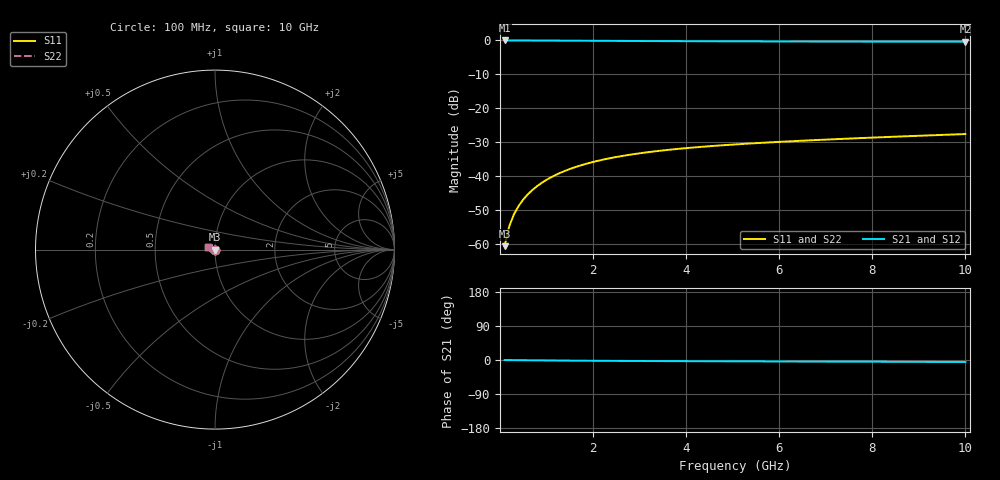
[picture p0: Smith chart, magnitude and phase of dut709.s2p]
! Touchstone file exported from HFSS 2024.1.0
!  File:  C:/UserFiles/LocalFiles/RDL_TSV_Batchsim/temp_TSV1_709_1779867218.aedt
!  Generated:  03:38:35 PM May 27, 2026
!  Design:  TSV1
!  Project:  temp_TSV1_709_1779867218
!  Setup:  Setup1
!  Solution:  Sweep
! Variables:
!  dtsv = 8.09um
!  hbump = 3um
!  htsv = 79.52um
!  lrdl = 252.1521522um
!  p = 40
!  p1 = 55um
!  t = 500um
!  trdl = 3um
!  wrdl = 24.89489489um
# GHz S MA R 50.000000
! Terminal data exported
! Port[1] = TSV22_T1
! Port[2] = TSV22_T2
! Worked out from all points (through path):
!   100 points, 100 MHz to 10 GHz, reference 50 ohm
!   highest |S21| = 0.00 dB at 100 MHz (marker M1); lowest = -0.4 dB at 10 GHz (marker M2)
!   lowest |S11| = -60.7 dB at 100 MHz (marker M3), VSWR 1.00, Z = 50 - j0.0909 ohm
!   |S11| at or under -10 dB: start of sweep to end of sweep
!   |S22| runs from -60.7 to -27.6 dB; largest |S21 - S12| = 9e-15
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0.1  0.0009271 -78.5  0.9997 -0.1  0.9997 -0.1  0.0009271 -78.5
! Gamma 0 0 0 0
! Port Impedance 50 0 50 0
0.2  0.001826 -87.2  0.9996 -0.2  0.9996 -0.2  0.001826 -87.2
0.3  0.002729 -91.6  0.9994 -0.3  0.9994 -0.3  0.002729 -91.6
0.4  0.003627 -94.9  0.9992 -0.5  0.9992 -0.5  0.003627 -94.9
0.5  0.004518 -97.7  0.9989 -0.6  0.9989 -0.6  0.004518 -97.7
0.6  0.005401 -100.3  0.9985 -0.7  0.9985 -0.7  0.005401 -100.3
0.7  0.006273 -102.7  0.9981 -0.8  0.9981 -0.8  0.006273 -102.7
0.8  0.007132 -105.0  0.9976 -0.9  0.9976 -0.9  0.007132 -105.0
0.9  0.007978 -107.3  0.9971 -1.0  0.9971 -1.0  0.007978 -107.3
1.1  0.009625 -111.6  0.9959 -1.2  0.9959 -1.2  0.009625 -111.6
1.4  0.01197 -117.7  0.9939 -1.5  0.9939 -1.5  0.01197 -117.7
1.6  0.01344 -121.6  0.9924 -1.7  0.9924 -1.7  0.01344 -121.6
1.8  0.01483 -125.3  0.9908 -1.8  0.9908 -1.8  0.01483 -125.3
2.1  0.01678 -130.6  0.9885 -2.1  0.9885 -2.1  0.01678 -130.6
2.5  0.01913 -137.3  0.9853 -2.3  0.9853 -2.3  0.01913 -137.3
2.9  0.02121 -143.4  0.9823 -2.6  0.9823 -2.6  0.02121 -143.4
3.4  0.02349 -150.4  0.9788 -2.8  0.9788 -2.8  0.02349 -150.4
4.2  0.02656 -160.3  0.974 -3.2  0.974 -3.2  0.02656 -160.3
5.1  0.02945 -169.9  0.9697 -3.5  0.9697 -3.5  0.02945 -169.9
6.7  0.03377 176.2  0.9643 -4.1  0.9643 -4.1  0.03377 176.2
8.4  0.0379 164.6  0.9606 -4.7  0.9606 -4.7  0.0379 164.5
10  0.04169 155.6  0.9582 -5.3  0.9582 -5.3  0.04169 155.6
